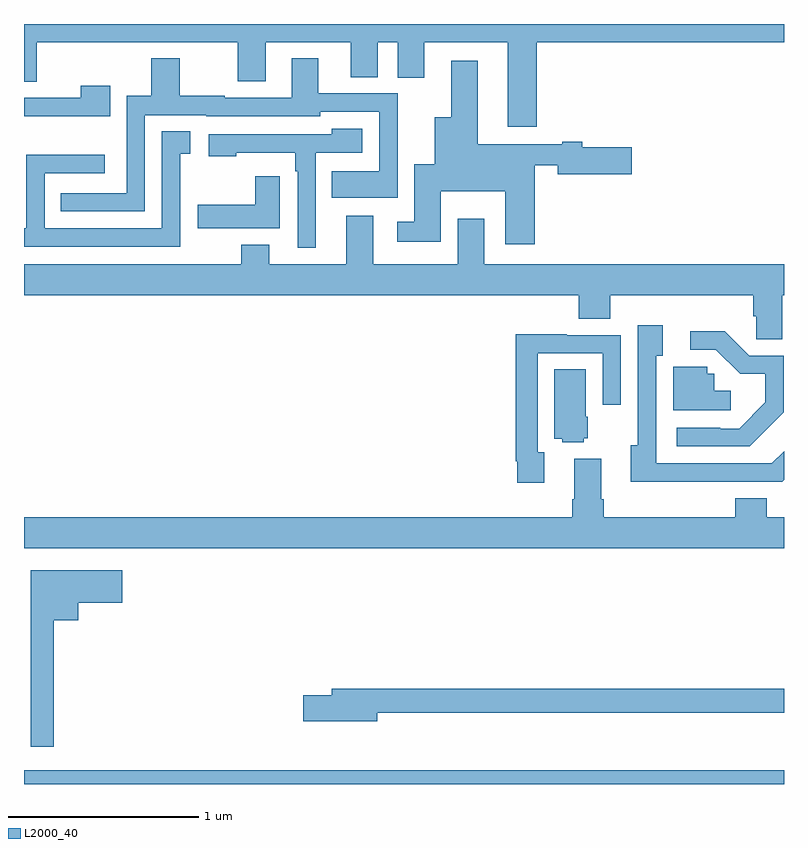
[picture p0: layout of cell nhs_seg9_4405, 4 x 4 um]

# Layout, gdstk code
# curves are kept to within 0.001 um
import gdstk
lib = gdstk.Library(unit=1e-6, precision=1e-09)
def R(c, l, rs):  # rectangles x0, y0, x1, y1
    for r in rs: c.add(gdstk.rectangle(r[:2], r[2:], *l))
def P(c, l, *ps):  # polygons
    for p in ps: c.add(gdstk.Polygon(p, *l))
L2000_40 = (2000, 40)

nhs_seg9_4405 = lib.new_cell('nhs_seg9_4405')
R(nhs_seg9_4405, L2000_40, [(363,1208.5,367,1208.572)])
P(nhs_seg9_4405, L2000_40, [(365.699,1212.404),(367,1212.404),(367,1212.5),(363,1212.5),(363,1212.196),(363.068,1212.196),(363.068,1212.404),(364.126,1212.404),(364.126,1212.198),(364.273,1212.198),(364.273,1212.404),(364.721,1212.404),(364.721,1212.22),(364.861,1212.22),(364.861,1212.404),(364.968,1212.404),(364.968,1212.216),(365.107,1212.216),(365.107,1212.404),(365.546,1212.404),(365.546,1211.958),(365.699,1211.958)],
  [(363.636,1212.021),(363.96,1212.021),(363.96,1212.015),(364.56,1212.015),(364.56,1212.039),(364.869,1212.039),(364.869,1211.725),(364.621,1211.725),(364.621,1211.585),(364.967,1211.585),(364.967,1212.135),(364.549,1212.135),(364.549,1212.319),(364.409,1212.319),(364.409,1212.111),(364.056,1212.111),(364.056,1212.122),(363.819,1212.122),(363.819,1212.319),(363.671,1212.319),(363.671,1212.122),(363.54,1212.122),(363.54,1211.61),(363.193,1211.61),(363.193,1211.514),(363.636,1211.514)],
  [(365.687,1211.756),(365.81,1211.756),(365.81,1211.71),(366.199,1211.71),(366.199,1211.852),(365.938,1211.852),(365.938,1211.881),(365.834,1211.881),(365.834,1211.868),(365.389,1211.868),(365.389,1212.307),(365.249,1212.307),(365.249,1212.01),(365.162,1212.01),(365.162,1211.761),(365.054,1211.761),(365.054,1211.458),(364.965,1211.458),(364.965,1211.354),(365.194,1211.354),(365.194,1211.621),(365.534,1211.621),(365.534,1211.34),(365.687,1211.34)],
  [(363.347,1212.015),(363.455,1212.015),(363.455,1212.175),(363.299,1212.175),(363.299,1212.111),(363,1212.111),(363,1212.014),(363.347,1212.014)],
  [(364.536,1211.823),(364.78,1211.823),(364.78,1211.95),(364.619,1211.95),(364.619,1211.919),(363.972,1211.919),(363.972,1211.804),(364.116,1211.804),(364.116,1211.823),(364.428,1211.823),(364.428,1211.726),(364.44,1211.726),(364.44,1211.322),(364.536,1211.322)],
  [(363.822,1211.818),(363.874,1211.818),(363.874,1211.936),(363.726,1211.936),(363.726,1211.424),(363.108,1211.424),(363.108,1211.715),(363.424,1211.715),(363.424,1211.813),(363.012,1211.813),(363.012,1211.424),(363,1211.424),(363,1211.328),(363.822,1211.328)],
  [(364.345,1211.698),(364.216,1211.698),(364.216,1211.548),(363.915,1211.548),(363.915,1211.426),(364.345,1211.426)],
  [(366.991,1211.072),(367,1211.072),(367,1211.236),(365.422,1211.236),(365.422,1211.476),(365.282,1211.476),(365.282,1211.236),(364.837,1211.236),(364.837,1211.491),(364.697,1211.491),(364.697,1211.236),(364.291,1211.236),(364.291,1211.338),(364.144,1211.338),(364.144,1211.236),(363,1211.236),(363,1211.072),(365.921,1211.072),(365.921,1210.948),(366.086,1210.948),(366.086,1211.072),(366.839,1211.072),(366.839,1210.962),(366.853,1210.962),(366.853,1210.84),(366.991,1210.84)],
  [(366.659,1210.092),(366.99,1210.092),(367,1210.102),(367,1210.252),(366.936,1210.188),(366.327,1210.188),(366.327,1210.754),(366.361,1210.754),(366.361,1210.915),(366.231,1210.915),(366.231,1210.282),(366.194,1210.282),(366.194,1210.091)],
  [(366.999,1210.457),(366.999,1210.755),(366.816,1210.755),(366.688,1210.883),(366.507,1210.883),(366.507,1210.785),(366.642,1210.785),(366.769,1210.658),(366.902,1210.658),(366.902,1210.508),(366.765,1210.371),(366.665,1210.371),(366.665,1210.374),(366.435,1210.374),(366.435,1210.278),(366.82,1210.278)],
  [(365.737,1210.247),(365.703,1210.247),(365.703,1210.767),(366.045,1210.767),(366.045,1210.497),(366.141,1210.497),(366.141,1210.863),(365.857,1210.863),(365.857,1210.867),(365.587,1210.867),(365.587,1210.198),(365.595,1210.198),(365.595,1210.086),(365.737,1210.086)],
  [(366.721,1210.57),(366.633,1210.57),(366.633,1210.659),(366.597,1210.659),(366.597,1210.695),(366.416,1210.695),(366.416,1210.467),(366.721,1210.467)],
  [(365.946,1210.32),(365.968,1210.32),(365.968,1210.434),(365.956,1210.434),(365.956,1210.682),(365.792,1210.682),(365.792,1210.316),(365.832,1210.316),(365.832,1210.298),(365.946,1210.298)],
  [(367,1209.904),(366.908,1209.904),(366.908,1210.003),(366.743,1210.003),(366.743,1209.904),(366.05,1209.904),(366.05,1210),(366.037,1210),(366.037,1210.213),(365.897,1210.213),(365.897,1210),(365.885,1210),(365.885,1209.904),(363,1209.904),(363,1209.74),(367,1209.74)],
  [(363.157,1209.362),(363.286,1209.362),(363.286,1209.455),(363.517,1209.455),(363.517,1209.625),(363.035,1209.625),(363.035,1208.697),(363.157,1208.697)],
  [(364.858,1208.874),(367,1208.874),(367,1209.002),(364.619,1209.002),(364.619,1208.966),(364.47,1208.966),(364.47,1208.831),(364.858,1208.831)])

lib.write_gds('nhs_seg9_4405.gds')
